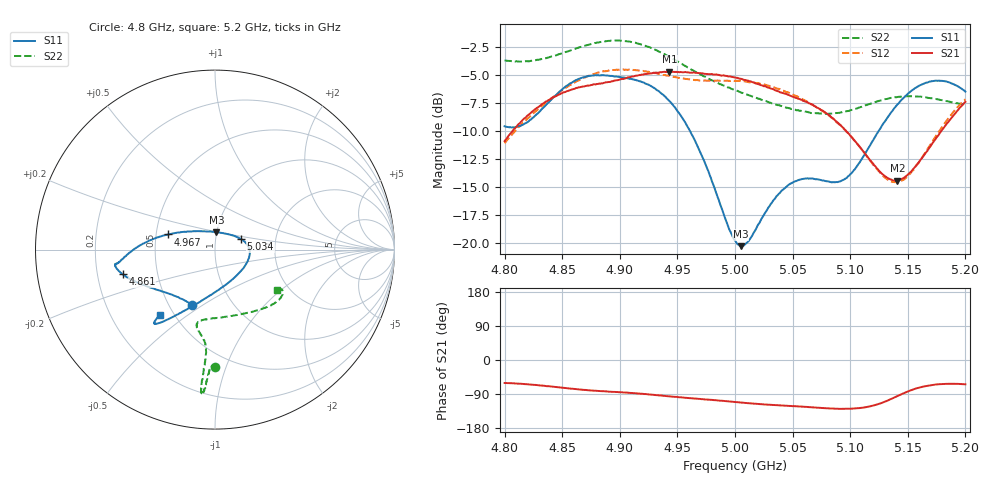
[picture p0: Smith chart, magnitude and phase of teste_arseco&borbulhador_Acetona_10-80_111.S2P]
! Network Analyzer HP8722D
! Hewlett-Packard
! Data name: Linha & Wilkinson
! Saver's name: Rodrigo Anjos
! Comments: Teste da utilização de aquisição
! continua pelo VNA HP8722D
! Time and date: 17/4/2025 15:17
!  Frequency  S11  S21  S12  S22
# HZ  S  MA R 50
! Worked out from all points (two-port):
!   401 points, 4.8 GHz to 5.2 GHz, reference 50 ohm
!   highest |S21| = -4.68 dB at 4.943 GHz (marker M1); lowest = -14.4 dB at 5.141 GHz (marker M2)
!   |S21| within 3 dB of the highest: 4.831 GHz to 5.068 GHz (236.8 MHz wide, 4.79 % of centre); 5.197175 GHz to end of sweep
!   lowest |S11| = -20.2 dB at 5.005 GHz (marker M3), VSWR 1.22, Z = 49.8 + j9.75 ohm
!   |S11| at or under -10 dB: 4.961 GHz to 5.124 GHz (163.3 MHz wide, 3.24 % of centre)
!   |S22| runs from -8.4 to -1.9 dB; largest |S21 - S12| = 0.87
!   S11 on the Smith chart (normalised r, x): 4.8 GHz: 0.65, -0.45; 4.861 GHz: 0.31, -0.12; 4.967 GHz: 0.58, +0.11; 5.034 GHz: 1.33, +0.16; 5.2 GHz: 0.42, -0.39
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4.8e9  0.3333 -113.1  0.2861 -60.7  0.2801 -174.9  0.6562 -89.9
4.819e9  0.3465 -133.0  0.3685 -63.8  0.3568 -173.4  0.6508 -91.5
4.861e9  0.5324 -165.0  0.4903 -76.5  0.5237 -176.3  0.7384 -93.8
4.867e9  0.5486 -167.4  0.4999 -78.3  0.5428 -177.5  0.7562 -93.9
4.9e9  0.5528 -172.0  0.5387 -85.0  0.5963 175.8  0.8044 -95.2
4.934e9  0.4774 -177.9  0.5786 -93.5  0.5712 172.1  0.7182 -95.6
4.943e9  0.4324 178.1  0.5838 -96.0  0.5603 172.0  0.6812 -95.4
4.967e9  0.2754 162.2  0.5774 -102.2  0.5359 173.9  0.578 -94.9
5e9  0.103 102.9  0.5493 -110.9  0.5328 176.4  0.4831 -99.0
5.005e9  0.09721 85.6  0.5431 -112.3  0.5294 176.2  0.4719 -100.2
5.013e9  0.1046 59.6  0.5294 -114.3  0.5236 176.1  0.4568 -101.9
5.034e9  0.1571 21.6  0.4849 -118.9  0.4968 175.0  0.4188 -103.5
5.049e9  0.1856 6.3  0.4534 -121.5  0.4641 174.4  0.3977 -100.1
5.067e9  0.1948 -12.9  0.4164 -124.9  0.4174 173.7  0.3823 -90.9
5.086e9  0.1876 -42.8  0.3581 -128.4  0.3564 173.6  0.38 -76.6
5.097e9  0.196 -65.6  0.3149 -128.9  0.3145 174.6  0.3889 -67.5
5.134e9  0.3742 -115.9  0.194 -105.1  0.1905 -157.9  0.4442 -42.9
5.141e9  0.417 -119.9  0.1905 -95.2  0.1875 -146.8  0.4504 -39.9
5.153e9  0.4797 -124.9  0.2095 -79.4  0.2079 -128.7  0.4537 -35.7
5.17e9  0.5287 -128.5  0.2726 -66.3  0.2784 -112.6  0.4451 -31.9
5.184e9  0.5265 -129.9  0.3438 -62.9  0.3543 -107.1  0.4315 -30.8
5.2e9  0.4758 -130.2  0.4282 -64.1  0.44 -106.3  0.4149 -33.2
